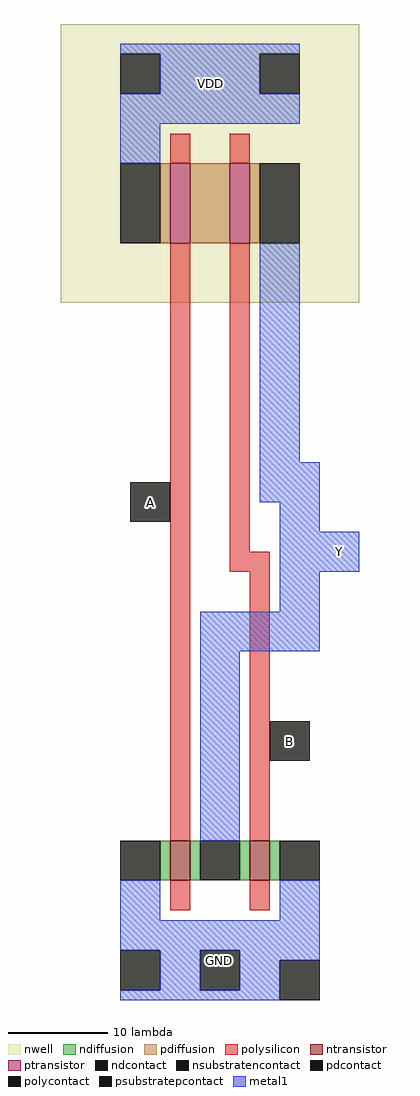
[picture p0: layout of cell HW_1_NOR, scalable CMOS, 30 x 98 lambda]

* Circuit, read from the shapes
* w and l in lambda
.subckt HW_1_NOR A B GND VDD Y
M1 Y A GND GND nfet w=4 l=2
M2 GND B Y GND nfet w=4 l=2
M3 n1 A VDD VDD pfet w=8 l=2
M4 Y B n1 VDD pfet w=8 l=2
.ends

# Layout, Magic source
magic
tech scmos
<< nwell >>
rect -16 19 14 47
<< ntransistor >>
rect -5 -39 -3 -35
rect 3 -39 5 -35
<< ptransistor >>
rect -5 25 -3 33
rect 1 25 3 33
<< ndiffusion >>
rect -6 -39 -5 -35
rect -3 -39 -2 -35
rect 2 -39 3 -35
rect 5 -39 6 -35
<< pdiffusion >>
rect -6 25 -5 33
rect -3 25 1 33
rect 3 25 4 33
<< ndcontact >>
rect -10 -39 -6 -35
rect -2 -39 2 -35
rect 6 -39 10 -35
<< pdcontact >>
rect -10 25 -6 33
rect 4 25 8 33
<< psubstratepcontact >>
rect -10 -50 -6 -46
rect -2 -50 2 -46
rect 6 -51 10 -47
<< nsubstratencontact >>
rect -10 40 -6 44
rect 4 40 8 44
<< polysilicon >>
rect -5 33 -3 36
rect 1 33 3 36
rect -5 -35 -3 25
rect 1 -6 3 25
rect 1 -8 5 -6
rect 3 -35 5 -8
rect -5 -42 -3 -39
rect 3 -42 5 -39
<< polycontact >>
rect -9 -3 -5 1
rect 5 -27 9 -23
<< metal1 >>
rect -10 44 8 45
rect -6 40 4 44
rect -10 37 8 40
rect -10 33 -6 37
rect 4 3 8 25
rect 4 -1 10 3
rect 6 -4 10 -1
rect 6 -8 14 -4
rect 6 -12 10 -8
rect -2 -16 10 -12
rect -2 -35 2 -16
rect -10 -43 -6 -39
rect 6 -43 10 -39
rect -10 -46 10 -43
rect -6 -50 -2 -46
rect 2 -47 10 -46
rect 2 -50 6 -47
rect -10 -51 6 -50
<< labels >>
rlabel polycontact -9 -3 -5 1 1 A
rlabel polycontact 5 -27 9 -23 1 B
rlabel metal1 10 -8 14 -4 7 Y
rlabel metal1 -10 -51 10 -43 1 GND
rlabel nwell -10 37 8 45 1 VDD
<< end >>
